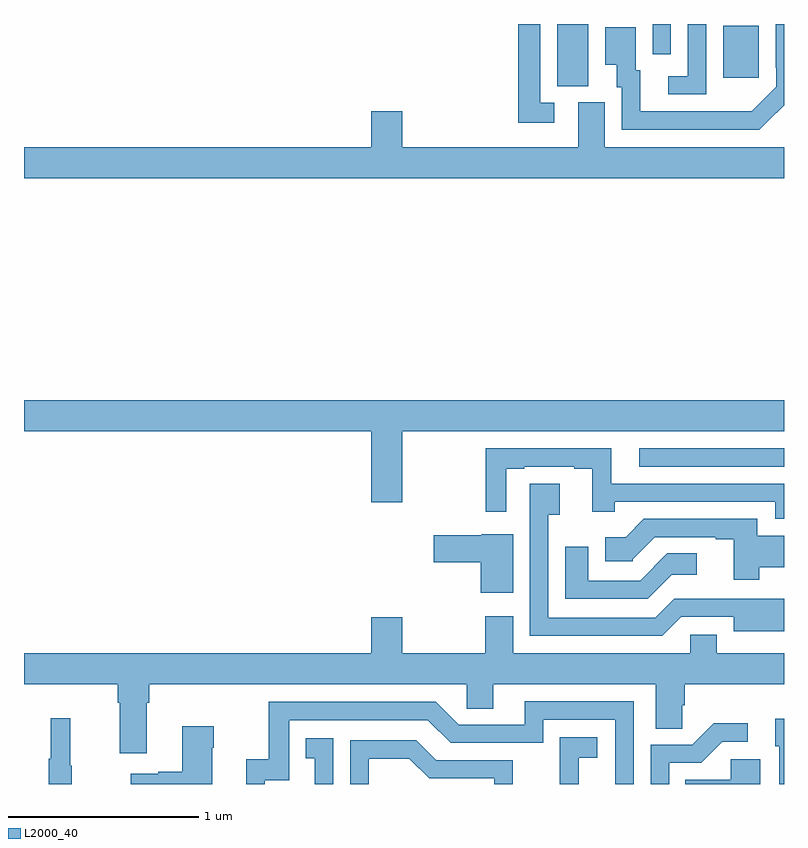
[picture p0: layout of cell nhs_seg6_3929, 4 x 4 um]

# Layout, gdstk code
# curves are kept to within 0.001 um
import gdstk
lib = gdstk.Library(unit=1e-6, precision=1e-09)
def R(c, l, rs):  # rectangles x0, y0, x1, y1
    for r in rs: c.add(gdstk.rectangle(r[:2], r[2:], *l))
def P(c, l, *ps):  # polygons
    for p in ps: c.add(gdstk.Polygon(p, *l))
L2000_40 = (2000, 40)

nhs_seg6_3929 = lib.new_cell('nhs_seg6_3929')
R(nhs_seg6_3929, L2000_40, [(346.239,927.171,347,927.267), (345.806,929.173,345.97,929.5), (346.679,929.217,346.867,929.491), (346.308,929.34,346.404,929.5)])
P(nhs_seg6_3929, L2000_40, [(346.59,929.5),(346.494,929.5),(346.494,929.226),(346.392,929.226),(346.392,929.13),(346.59,929.13)],
  [(346.961,929.035),(346.962,929.034),(347,929.072),(347,929.5),(346.956,929.5),(346.956,929.269),(346.959,929.269),(346.959,929.169),(346.831,929.041),(346.243,929.04),(346.243,929.256),(346.219,929.256),(346.219,929.482),(346.058,929.482),(346.058,929.285),(346.121,929.285),(346.121,929.166),(346.146,929.166),(346.146,928.944),(346.87,928.944)],
  [(345.79,929.085),(345.717,929.085),(345.717,929.5),(345.601,929.5),(345.601,928.98),(345.79,928.98)],
  [(347,928.852),(346.057,928.852),(346.057,929.088),(345.917,929.088),(345.917,928.852),(344.992,928.852),(344.992,929.041),(344.828,929.041),(344.828,928.852),(343,928.852),(343,928.688),(347,928.688)],
  [(344.992,927.356),(347,927.356),(347,927.52),(343,927.52),(343,927.356),(344.828,927.356),(344.828,926.982),(344.992,926.982)],
  [(347,927.081),(346.09,927.081),(346.09,927.267),(345.429,927.267),(345.429,926.934),(345.537,926.934),(345.537,927.159),(345.634,927.159),(345.634,927.171),(345.896,927.171),(345.896,927.159),(345.992,927.159),(345.992,926.934),(346.109,926.934),(346.109,926.985),(346.953,926.985),(346.953,926.895),(347,926.895)],
  [(346.458,926.379),(346.736,926.379),(346.736,926.303),(347,926.303),(347,926.476),(346.422,926.475),(346.323,926.376),(345.759,926.376),(345.759,926.918),(345.82,926.918),(345.82,927.079),(345.663,927.079),(345.663,926.28),(346.359,926.28)],
  [(346.871,926.642),(347,926.642),(347,926.806),(346.858,926.806),(346.858,926.895),(346.262,926.895),(346.166,926.799),(346.059,926.799),(346.059,926.673),(346.203,926.673),(346.203,926.682),(346.32,926.799),(346.64,926.799),(346.64,926.787),(346.736,926.787),(346.736,926.574),(346.871,926.574)],
  [(345.574,926.815),(345.408,926.815),(345.408,926.81),(345.156,926.81),(345.156,926.668),(345.404,926.668),(345.404,926.507),(345.574,926.507)],
  [(346.408,926.601),(346.54,926.601),(346.54,926.714),(346.386,926.714),(346.243,926.571),(345.97,926.571),(345.97,926.749),(345.848,926.749),(345.848,926.475),(346.282,926.475)],
  [(343.645,925.928),(343.658,925.928),(343.658,926.024),(345.33,926.024),(345.33,925.897),(345.469,925.897),(345.469,926.024),(346.325,926.024),(346.325,925.792),(346.464,925.792),(346.464,925.915),(346.478,925.915),(346.478,926.024),(347,926.024),(347,926.188),(346.645,926.188),(346.645,926.286),(346.506,926.286),(346.506,926.188),(345.574,926.188),(345.574,926.383),(345.427,926.383),(345.427,926.188),(344.992,926.188),(344.992,926.377),(344.828,926.377),(344.828,926.188),(343,926.188),(343,926.024),(343.493,926.024),(343.493,925.928),(343.505,925.928),(343.505,925.662),(343.645,925.662)],
  [(344.268,925.521),(344.397,925.521),(344.397,925.836),(345.126,925.836),(345.246,925.716),(345.732,925.716),(345.732,925.839),(346.113,925.839),(346.113,925.5),(346.209,925.5),(346.209,925.935),(345.635,925.935),(345.635,925.812),(345.288,925.812),(345.168,925.932),(344.289,925.932),(344.289,925.63),(344.171,925.63),(344.171,925.5),(344.268,925.5)],
  [(343.252,925.596),(343.244,925.596),(343.244,925.846),(343.142,925.846),(343.142,925.633),(343.131,925.633),(343.131,925.5),(343.252,925.5)],
  [(347,925.843),(346.955,925.843),(346.955,925.698),(346.974,925.698),(346.974,925.5),(347,925.5)],
  [(346.395,925.611),(346.564,925.611),(346.675,925.722),(346.81,925.722),(346.81,925.82),(346.631,925.82),(346.518,925.707),(346.299,925.707),(346.299,925.5),(346.395,925.5)],
  [(343.99,925.691),(343.998,925.691),(343.998,925.804),(343.832,925.804),(343.832,925.565),(343.706,925.565),(343.706,925.555),(343.563,925.555),(343.563,925.5),(343.99,925.5)],
  [(345.92,925.637),(346.018,925.637),(346.018,925.747),(345.82,925.747),(345.82,925.541),(345.821,925.541),(345.821,925.5),(345.92,925.5)],
  [(344.628,925.741),(344.482,925.741),(344.482,925.635),(344.531,925.635),(344.531,925.5),(344.628,925.5)],
  [(344.814,925.634),(345.028,925.634),(345.132,925.53),(345.474,925.53),(345.474,925.5),(345.573,925.5),(345.573,925.626),(345.169,925.626),(345.064,925.731),(344.718,925.731),(344.718,925.5),(344.814,925.5)],
  [(346.876,925.63),(346.719,925.63),(346.719,925.522),(346.48,925.522),(346.48,925.5),(346.876,925.5)])

lib.write_gds('nhs_seg6_3929.gds')
